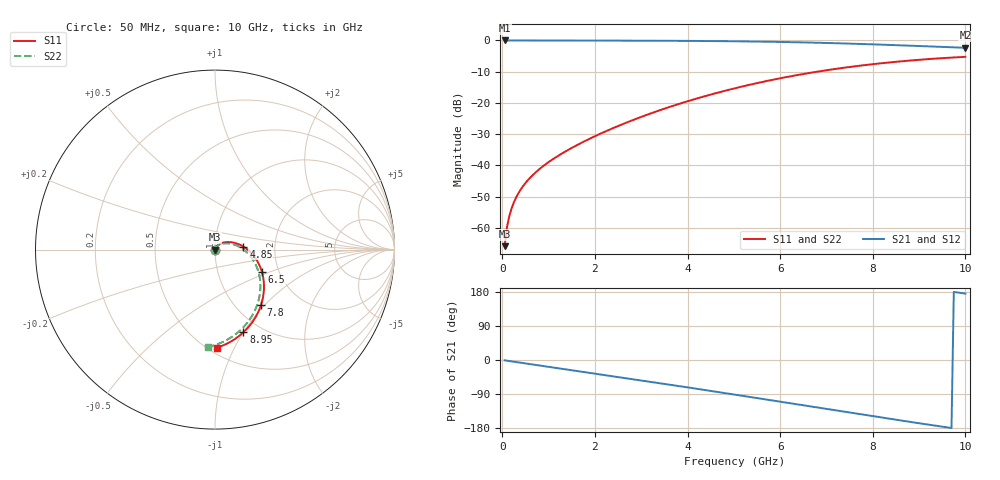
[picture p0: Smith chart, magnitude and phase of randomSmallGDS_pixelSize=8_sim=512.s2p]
! freq	dB(S11)	phase(S11)	dB(S12)	phase(S12)
!  dB(S21)	phase(S21)	dB(S22)	phase(S22)
!S-par simulation data
#  GHz  S  DB  R 50
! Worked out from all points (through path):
!   200 points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, 50 MHz to 10 GHz, reference 50 ohm
!   highest |S21| = 0.00 dB at 50 MHz (marker M1); lowest = -2.3 dB at 10 GHz (marker M2)
!   group delay of S21, straight-line fit = 51.8 ps
!   lowest |S11| = -65.8 dB at 50 MHz (marker M3), VSWR 1.00, Z = 50 + j0.0508 ohm
!   |S11| at or under -10 dB: start of sweep to 6.799 GHz
!   |S22| runs from -65.8 to -5.3 dB; largest |S21 - S12| = 0
!   S11 on the Smith chart (normalised r, x): 50 MHz: 1.00, +0.00; 4.85 GHz: 1.38, +0.05; 6.5 GHz: 1.63, -0.45; 7.8 GHz: 1.30, -0.95; 8.95 GHz: 0.83, -1.00; 10 GHz: 0.55, -0.86
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0.05  -65.84 85.0  -0.00 -0.9  -0.00 -0.9  -65.84 84.8
0.1  -59.83 86.4  -0.00 -1.8  -0.00 -1.8  -59.83 86.0
0.15  -56.30 86.4  -0.00 -2.7  -0.00 -2.7  -56.30 85.8
0.2  -53.79 86.0  -0.00 -3.6  -0.00 -3.6  -53.79 85.2
0.3  -50.22 84.8  -0.00 -5.4  -0.00 -5.4  -50.22 83.6
0.45  -46.59 82.8  -0.01 -8.1  -0.01 -8.1  -46.59 81.1
0.65  -43.19 79.9  -0.01 -11.6  -0.01 -11.6  -43.20 77.5
0.95  -39.47 75.4  -0.02 -17.0  -0.02 -17.0  -39.48 72.0
1.3  -36.08 70.0  -0.03 -23.2  -0.03 -23.2  -36.10 65.7
1.75  -32.45 62.6  -0.04 -31.2  -0.04 -31.2  -32.49 57.6
2.55  -27.08 48.7  -0.06 -45.6  -0.06 -45.6  -27.12 42.9
3.4  -22.34 33.1  -0.10 -61.1  -0.10 -61.1  -22.38 27.2
4.15  -18.80 19.1  -0.15 -75.0  -0.15 -75.0  -18.83 13.3
4.85  -15.94 5.9  -0.24 -88.1  -0.24 -88.1  -15.98 0.2
5.05  -15.20 2.1  -0.27 -91.9  -0.27 -91.9  -15.24 -3.5
5.75  -12.86 -11.3  -0.41 -105.3  -0.41 -105.3  -12.89 -16.8
6.5  -10.74 -25.7  -0.62 -119.7  -0.62 -119.7  -10.77 -31.0
6.7  -10.24 -29.5  -0.69 -123.6  -0.69 -123.6  -10.27 -34.8
7.8  -7.94 -50.2  -1.15 -144.6  -1.15 -144.6  -7.97 -55.4
8.35  -7.05 -60.3  -1.42 -154.9  -1.42 -154.9  -7.09 -65.4
8.95  -6.25 -71.0  -1.75 -166.0  -1.75 -166.0  -6.29 -76.2
10  -5.24 -88.9  -2.35 175.2  -2.35 175.2  -5.29 -94.2
